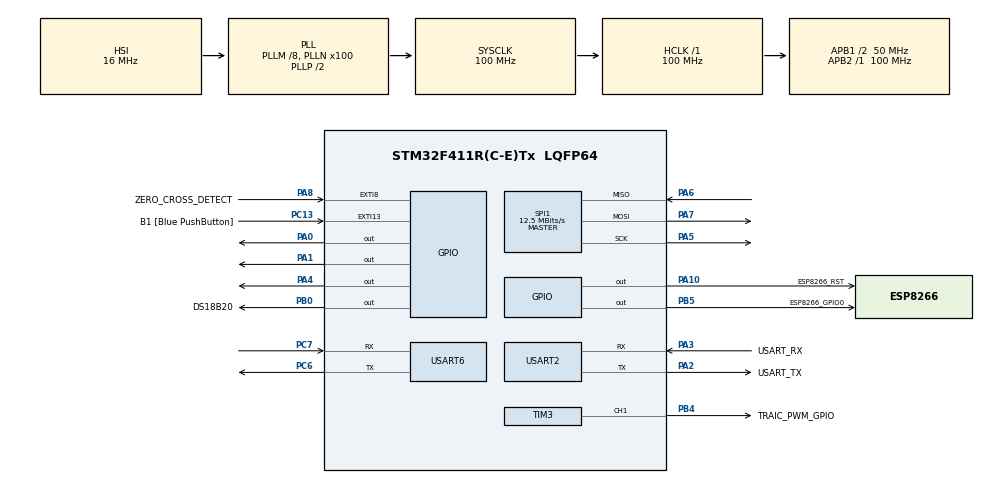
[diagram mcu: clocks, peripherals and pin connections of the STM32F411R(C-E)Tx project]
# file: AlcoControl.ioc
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Mcu.Family=STM32F4
Mcu.Name=STM32F411R(C-E)Tx
Mcu.Package=LQFP64
NVIC.EXTI15_10_IRQn=true\:0\:0\:false\:false\:true\:true\:true\:true
NVIC.EXTI9_5_IRQn=true\:0\:0\:false\:false\:true\:true\:true\:true
NVIC.PriorityGroup=NVIC_PRIORITYGROUP_0
NVIC.USART2_IRQn=true\:0\:0\:false\:false\:true\:true\:true\:true
NVIC.USART6_IRQn=true\:0\:0\:false\:false\:true\:true\:true\:true
PA0-WKUP.Signal=GPIO_Output
PA1.Signal=GPIO_Output
PA10.GPIO_Label=ESP8266_RST
PA10.Signal=GPIO_Output
PA13.GPIO_Label=TMS
PA13.Mode=Serial_Wire
PA13.Signal=SYS_JTMS-SWDIO
PA14.GPIO_Label=TCK
PA14.Mode=Serial_Wire
PA14.Signal=SYS_JTCK-SWCLK
PA2.GPIO_Label=USART_TX
PA2.Mode=Asynchronous
PA2.Signal=USART2_TX
PA3.GPIO_Label=USART_RX
PA3.Mode=Asynchronous
PA3.Signal=USART2_RX
PA4.Signal=GPIO_Output
PA5.Mode=Full_Duplex_Master
PA5.Signal=SPI1_SCK
PA6.Mode=Full_Duplex_Master
PA6.Signal=SPI1_MISO
PA7.Mode=Full_Duplex_Master
PA7.Signal=SPI1_MOSI
PA8.GPIO_Label=ZERO_CROSS_DETECT
PA8.GPIO_ModeDefaultEXTI=GPIO_MODE_IT_FALLING
PA8.Signal=GPXTI8
PB0.GPIO_Label=DS18B20
PB0.GPIO_ModeDefaultOutputPP=GPIO_MODE_OUTPUT_PP
PB0.GPIO_PuPd=GPIO_NOPULL
PB0.Signal=GPIO_Output
PB3.GPIO_Label=SWO
PB3.Signal=SYS_JTDO-SWO
PB4.GPIO_Label=TRAIC_PWM_GPIO
PB4.Signal=S_TIM3_CH1
PB5.GPIO_Label=ESP8266_GPIO0
PB5.Signal=GPIO_Output
PC13-ANTI_TAMP.GPIO_Label=B1 [Blue PushButton]
PC13-ANTI_TAMP.GPIO_ModeDefaultEXTI=GPIO_MODE_IT_FALLING
PC13-ANTI_TAMP.Signal=GPXTI13
PC14-OSC32_IN.Mode=LSE-External-Oscillator
PC14-OSC32_IN.Signal=RCC_OSC32_IN
PC15-OSC32_OUT.Mode=LSE-External-Oscillator
PC15-OSC32_OUT.Signal=RCC_OSC32_OUT
PC6.Mode=Asynchronous
PC6.Signal=USART6_TX
PC7.Mode=Asynchronous
PC7.Signal=USART6_RX
PH0\ -\ OSC_IN.Mode=HSE-External-Clock-Source
PH0\ -\ OSC_IN.Signal=RCC_OSC_IN
PH1\ -\ OSC_OUT.Mode=HSE-External-Clock-Source
PH1\ -\ OSC_OUT.Signal=RCC_OSC_OUT
ProjectManager.HeapSize=0x200
ProjectManager.StackSize=0x400
ProjectManager.TargetToolchain=STM32CubeIDE
RCC.48MHZClocksFreq_Value=50000000
RCC.AHBFreq_Value=100000000
RCC.APB1CLKDivider=RCC_HCLK_DIV2
RCC.APB1Freq_Value=50000000
RCC.APB1TimFreq_Value=100000000
RCC.APB2Freq_Value=100000000
RCC.APB2TimFreq_Value=100000000
RCC.CortexFreq_Value=100000000
RCC.FLatency-AdvancedSettings=FLASH_LATENCY_3
RCC.HCLKFreq_Value=100000000
RCC.HSE_VALUE=8000000
RCC.HSI_VALUE=16000000
RCC.PLLM=8
RCC.PLLN=100
RCC.SYSCLKFreq_VALUE=100000000
RCC.SYSCLKSource=RCC_SYSCLKSOURCE_PLLCLK
RCC.VCOOutputFreq_Value=200000000
SH.S_TIM3_CH1.0=TIM3_CH1,PWM Generation1 CH1
SPI1.BaudRatePrescaler=SPI_BAUDRATEPRESCALER_8
SPI1.CalculateBaudRate=12.5 MBits/s
SPI1.Direction=SPI_DIRECTION_2LINES
SPI1.Mode=SPI_MODE_MASTER
SPI1.VirtualType=VM_MASTER
TIM1.Prescaler=83
TIM3.Channel-PWM\ Generation1\ CH1=TIM_CHANNEL_1
USART2.VirtualMode=VM_ASYNC
USART6.VirtualMode=VM_ASYNC
VP_TIM1_VS_ClockSourceINT.Mode=Internal
VP_TIM1_VS_ClockSourceITR.Mode=TriggerSource_ITR0
VP_TIM1_VS_ControllerModeReset.Mode=Reset Mode
VP_TIM3_VS_ClockSourceINT.Mode=Internal
VP_TIM3_VS_OPM.Mode=OPM_bit
board=NUCLEO-F411RE

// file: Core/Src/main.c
/* USER CODE BEGIN Header */
/**
 ******************************************************************************
 * @file           : main.c
 * @brief          : Main program body
 ******************************************************************************
 * @attention
 *
 * Copyright (c) 2023 STMicroelectronics.
 * All rights reserved.
 *
 * This software is licensed under terms that can be found in the LICENSE file
 * in the root directory of this software component.
 * If no LICENSE file comes with this software, it is provided AS-IS.
 *
 ******************************************************************************
 */
/* USER CODE END Header */
#include "main.h"

/* USER CODE BEGIN Includes */
#include <stdint.h>
#include <string.h>
#include "display_tft.h"
#include "ds18b20.h"
#include "onewire.h"
#include "pid.h"
#include "ESP8266_HAL.h"
// C:\Users\mateu\AppData\Roaming\Python\Python312\Scripts\esptool.exe --port COM4 --chip esp8266 --baud 115200 --before default_reset --after hard_reset write_flash --flash_mode dio --flash_freq 80m 0x0 .\Cytron_ESP-12F_WROOM-02_AT_Firmware_V2.2.0.bin

/* USER CODE END Includes */

SPI_HandleTypeDef hspi1;

TIM_HandleTypeDef htim1;
TIM_HandleTypeDef htim3;

UART_HandleTypeDef huart2;
UART_HandleTypeDef huart6;

/* USER CODE BEGIN PV */

uint8_t sensor_bottom[8];
uint8_t sensor_middle[8];
uint8_t sensor_top[8];

float temp_bottom = -1000;
float temp_middle = -1000;
float temp_top = -1000;

uint8_t sensors_found = 0;

/* USER CODE END PV */

void SystemClock_Config(void);
static void MX_GPIO_Init(void);
static void MX_USART2_UART_Init(void);
static void MX_SPI1_Init(void);
static void MX_TIM1_Init(void);
static void MX_TIM3_Init(void);
static void MX_USART6_UART_Init(void);

/* USER CODE BEGIN 0 */
void Sensors_Init(void)
{

    DS18B20_Init(DS18B20_Resolution_12bits);
    sensors_found = DS18B20_Quantity();

    switch(sensors_found){
    case 1:
    	DS18B20_GetROM(0,sensor_bottom);
    	break;
    case 2:
    	DS18B20_GetROM(0,sensor_bottom);
    	DS18B20_GetROM(1,sensor_middle);
    	break;
    case 3:
    	DS18B20_GetROM(0,sensor_bottom);
		DS18B20_GetROM(1,sensor_middle);
		DS18B20_GetROM(2,sensor_top);
		break;
    }

}

void Sensors_ReadTemperatures(void)
{
	DS18B20_ReadAll();
	DS18B20_StartAll();

    if (sensors_found >= 1) {
    	DS18B20_GetTemperature(0, &temp_bottom);
    } else {
        temp_bottom = -1000;
    }

    if (sensors_found >= 2) {
    	DS18B20_GetTemperature(1, &temp_middle);
    } else {
        temp_middle = -1000;
    }

    if (sensors_found >= 3) {
    	DS18B20_GetTemperature(2, &temp_top);
    } else {
        temp_top = -1000;
    }
}

/* USER CODE END 0 */

int main(void)
{

  /* MCU Configuration--------------------------------------------------------*/

  /* Reset of all peripherals, Initializes the Flash interface and the Systick. */
  HAL_Init();

  /* Configure the system clock */
  SystemClock_Config();

  /* Initialize all configured peripherals */
  MX_GPIO_Init();
  MX_USART2_UART_Init();
  MX_SPI1_Init();
  MX_TIM1_Init();
  MX_TIM3_Init();
  MX_USART6_UART_Init();
  /* USER CODE BEGIN 2 */
	TFT_Init(&hspi1);
	TFT_FillScreen(BLACK);
	TFT_DrawString(10, 10, "Hello AlcoControl!", RED, BLACK);
	PID_t heater_pid;

	 ESP_Init("Orange_Swiatlowod_0990","vEHMMHJvoGhGVFs32i");
  /* USER CODE END 2 */

  /* Infinite loop */
  /* USER CODE BEGIN WHILE */
	Sensors_Init();
	float dt = 1.0f;
	PID_Init(&heater_pid, 50.0f, 1.0f, 1.0f, 0.0f, 100.0f); // Kp, Ki, Kd, min=0%, max=100%
	heater_pid.setpoint = 30.5f;
	float heater_power = 0;
	TFT_DrawDestilleryScreen();
	while (1) {
		Sensors_ReadTemperatures();
		heater_power = PID_Compute(&heater_pid, temp_top, dt);
		TFT_UpdateValues(temp_bottom, temp_middle, temp_top, heater_power);
		Server_Start();

    /* USER CODE END WHILE */

	}
}

void SystemClock_Config(void)
{
  RCC_OscInitTypeDef RCC_OscInitStruct = {0};
  RCC_ClkInitTypeDef RCC_ClkInitStruct = {0};

  /** Configure the main internal regulator output voltage
  */
  __HAL_RCC_PWR_CLK_ENABLE();
  __HAL_PWR_VOLTAGESCALING_CONFIG(PWR_REGULATOR_VOLTAGE_SCALE1);

  /** Initializes the RCC Oscillators according to the specified parameters
  * in the RCC_OscInitTypeDef structure.
  */
  RCC_OscInitStruct.OscillatorType = RCC_OSCILLATORTYPE_HSI;
  RCC_OscInitStruct.HSIState = RCC_HSI_ON;
  RCC_OscInitStruct.HSICalibrationValue = RCC_HSICALIBRATION_DEFAULT;
  RCC_OscInitStruct.PLL.PLLState = RCC_PLL_ON;
  RCC_OscInitStruct.PLL.PLLSource = RCC_PLLSOURCE_HSI;
  RCC_OscInitStruct.PLL.PLLM = 8;
  RCC_OscInitStruct.PLL.PLLN = 100;
  RCC_OscInitStruct.PLL.PLLP = RCC_PLLP_DIV2;
  RCC_OscInitStruct.PLL.PLLQ = 4;
  if (HAL_RCC_OscConfig(&RCC_OscInitStruct) != HAL_OK)
  {
    Error_Handler();
  }

  /** Initializes the CPU, AHB and APB buses clocks
  */
  RCC_ClkInitStruct.ClockType = RCC_CLOCKTYPE_HCLK|RCC_CLOCKTYPE_SYSCLK
                              |RCC_CLOCKTYPE_PCLK1|RCC_CLOCKTYPE_PCLK2;
  RCC_ClkInitStruct.SYSCLKSource = RCC_SYSCLKSOURCE_PLLCLK;
  RCC_ClkInitStruct.AHBCLKDivider = RCC_SYSCLK_DIV1;
  RCC_ClkInitStruct.APB1CLKDivider = RCC_HCLK_DIV2;
  RCC_ClkInitStruct.APB2CLKDivider = RCC_HCLK_DIV1;

  if (HAL_RCC_ClockConfig(&RCC_ClkInitStruct, FLASH_LATENCY_3) != HAL_OK)
  {
    Error_Handler();
  }
}

static void MX_SPI1_Init(void)
{

  /* SPI1 parameter configuration*/
  hspi1.Instance = SPI1;
  hspi1.Init.Mode = SPI_MODE_MASTER;
  hspi1.Init.Direction = SPI_DIRECTION_2LINES;
  hspi1.Init.DataSize = SPI_DATASIZE_8BIT;
  hspi1.Init.CLKPolarity = SPI_POLARITY_LOW;
  hspi1.Init.CLKPhase = SPI_PHASE_1EDGE;
  hspi1.Init.NSS = SPI_NSS_SOFT;
  hspi1.Init.BaudRatePrescaler = SPI_BAUDRATEPRESCALER_8;
  hspi1.Init.FirstBit = SPI_FIRSTBIT_MSB;
  hspi1.Init.TIMode = SPI_TIMODE_DISABLE;
  hspi1.Init.CRCCalculation = SPI_CRCCALCULATION_DISABLE;
  hspi1.Init.CRCPolynomial = 10;
  if (HAL_SPI_Init(&hspi1) != HAL_OK)
  {
    Error_Handler();
  }

}

static void MX_TIM1_Init(void)
{

  TIM_ClockConfigTypeDef sClockSourceConfig = {0};
  TIM_SlaveConfigTypeDef sSlaveConfig = {0};
  TIM_MasterConfigTypeDef sMasterConfig = {0};

  htim1.Instance = TIM1;
  htim1.Init.Prescaler = 83;
  htim1.Init.CounterMode = TIM_COUNTERMODE_UP;
  htim1.Init.Period = 65535;
  htim1.Init.ClockDivision = TIM_CLOCKDIVISION_DIV1;
  htim1.Init.RepetitionCounter = 0;
  htim1.Init.AutoReloadPreload = TIM_AUTORELOAD_PRELOAD_DISABLE;
  if (HAL_TIM_Base_Init(&htim1) != HAL_OK)
  {
    Error_Handler();
  }
  sClockSourceConfig.ClockSource = TIM_CLOCKSOURCE_INTERNAL;
  if (HAL_TIM_ConfigClockSource(&htim1, &sClockSourceConfig) != HAL_OK)
  {
    Error_Handler();
  }
  sSlaveConfig.SlaveMode = TIM_SLAVEMODE_RESET;
  sSlaveConfig.InputTrigger = TIM_TS_ITR0;
  if (HAL_TIM_SlaveConfigSynchro(&htim1, &sSlaveConfig) != HAL_OK)
  {
    Error_Handler();
  }
  sMasterConfig.MasterOutputTrigger = TIM_TRGO_RESET;
  sMasterConfig.MasterSlaveMode = TIM_MASTERSLAVEMODE_DISABLE;
  if (HAL_TIMEx_MasterConfigSynchronization(&htim1, &sMasterConfig) != HAL_OK)
  {
    Error_Handler();
  }

}

static void MX_TIM3_Init(void)
{

  TIM_ClockConfigTypeDef sClockSourceConfig = {0};
  TIM_MasterConfigTypeDef sMasterConfig = {0};
  TIM_OC_InitTypeDef sConfigOC = {0};

  htim3.Instance = TIM3;
  htim3.Init.Prescaler = 0;
  htim3.Init.CounterMode = TIM_COUNTERMODE_UP;
  htim3.Init.Period = 65535;
  htim3.Init.ClockDivision = TIM_CLOCKDIVISION_DIV1;
  htim3.Init.AutoReloadPreload = TIM_AUTORELOAD_PRELOAD_DISABLE;
  if (HAL_TIM_Base_Init(&htim3) != HAL_OK)
  {
    Error_Handler();
  }
  sClockSourceConfig.ClockSource = TIM_CLOCKSOURCE_INTERNAL;
  if (HAL_TIM_ConfigClockSource(&htim3, &sClockSourceConfig) != HAL_OK)
  {
    Error_Handler();
  }
  if (HAL_TIM_PWM_Init(&htim3) != HAL_OK)
  {
    Error_Handler();
  }
  if (HAL_TIM_OnePulse_Init(&htim3, TIM_OPMODE_SINGLE) != HAL_OK)
  {
    Error_Handler();
  }
  sMasterConfig.MasterOutputTrigger = TIM_TRGO_RESET;
  sMasterConfig.MasterSlaveMode = TIM_MASTERSLAVEMODE_DISABLE;
  if (HAL_TIMEx_MasterConfigSynchronization(&htim3, &sMasterConfig) != HAL_OK)
  {
    Error_Handler();
  }
  sConfigOC.OCMode = TIM_OCMODE_PWM1;
  sConfigOC.Pulse = 0;
  sConfigOC.OCPolarity = TIM_OCPOLARITY_HIGH;
  sConfigOC.OCFastMode = TIM_OCFAST_DISABLE;
  if (HAL_TIM_PWM_ConfigChannel(&htim3, &sConfigOC, TIM_CHANNEL_1) != HAL_OK)
  {
    Error_Handler();
  }
  HAL_TIM_MspPostInit(&htim3);

}

static void MX_USART2_UART_Init(void)
{

  huart2.Instance = USART2;
  huart2.Init.BaudRate = 115200;
  huart2.Init.WordLength = UART_WORDLENGTH_8B;
  huart2.Init.StopBits = UART_STOPBITS_1;
  huart2.Init.Parity = UART_PARITY_NONE;
  huart2.Init.Mode = UART_MODE_TX_RX;
  huart2.Init.HwFlowCtl = UART_HWCONTROL_NONE;
  huart2.Init.OverSampling = UART_OVERSAMPLING_16;
  if (HAL_UART_Init(&huart2) != HAL_OK)
  {
    Error_Handler();
  }

}

static void MX_USART6_UART_Init(void)
{

  huart6.Instance = USART6;
  huart6.Init.BaudRate = 115200;
  huart6.Init.WordLength = UART_WORDLENGTH_8B;
  huart6.Init.StopBits = UART_STOPBITS_1;
  huart6.Init.Parity = UART_PARITY_NONE;
  huart6.Init.Mode = UART_MODE_TX_RX;
  huart6.Init.HwFlowCtl = UART_HWCONTROL_NONE;
  huart6.Init.OverSampling = UART_OVERSAMPLING_16;
  if (HAL_UART_Init(&huart6) != HAL_OK)
  {
    Error_Handler();
  }

}

static void MX_GPIO_Init(void)
{
  GPIO_InitTypeDef GPIO_InitStruct = {0};

  /* GPIO Ports Clock Enable */
  __HAL_RCC_GPIOC_CLK_ENABLE();
  __HAL_RCC_GPIOH_CLK_ENABLE();
  __HAL_RCC_GPIOA_CLK_ENABLE();
  __HAL_RCC_GPIOB_CLK_ENABLE();

  /*Configure GPIO pin Output Level */
  HAL_GPIO_WritePin(GPIOA, GPIO_PIN_0|GPIO_PIN_1|GPIO_PIN_4|ESP8266_RST_Pin, GPIO_PIN_RESET);

  /*Configure GPIO pin Output Level */
  HAL_GPIO_WritePin(GPIOB, DS18B20_Pin|ESP8266_GPIO0_Pin, GPIO_PIN_RESET);

  /*Configure GPIO pin : B1_Pin */
  GPIO_InitStruct.Pin = B1_Pin;
  GPIO_InitStruct.Mode = GPIO_MODE_IT_FALLING;
  GPIO_InitStruct.Pull = GPIO_NOPULL;
  HAL_GPIO_Init(B1_GPIO_Port, &GPIO_InitStruct);

  /*Configure GPIO pins : PA0 PA1 PA4 ESP8266_RST_Pin */
  GPIO_InitStruct.Pin = GPIO_PIN_0|GPIO_PIN_1|GPIO_PIN_4|ESP8266_RST_Pin;
  GPIO_InitStruct.Mode = GPIO_MODE_OUTPUT_PP;
  GPIO_InitStruct.Pull = GPIO_NOPULL;
  GPIO_InitStruct.Speed = GPIO_SPEED_FREQ_LOW;
  HAL_GPIO_Init(GPIOA, &GPIO_InitStruct);

  /*Configure GPIO pins : DS18B20_Pin ESP8266_GPIO0_Pin */
  GPIO_InitStruct.Pin = DS18B20_Pin|ESP8266_GPIO0_Pin;
  GPIO_InitStruct.Mode = GPIO_MODE_OUTPUT_PP;
  GPIO_InitStruct.Pull = GPIO_NOPULL;
  GPIO_InitStruct.Speed = GPIO_SPEED_FREQ_LOW;
  HAL_GPIO_Init(GPIOB, &GPIO_InitStruct);

  /*Configure GPIO pin : ZERO_CROSS_DETECT_Pin */
  GPIO_InitStruct.Pin = ZERO_CROSS_DETECT_Pin;
  GPIO_InitStruct.Mode = GPIO_MODE_IT_FALLING;
  GPIO_InitStruct.Pull = GPIO_NOPULL;
  HAL_GPIO_Init(ZERO_CROSS_DETECT_GPIO_Port, &GPIO_InitStruct);

  /* EXTI interrupt init*/
  HAL_NVIC_SetPriority(EXTI9_5_IRQn, 0, 0);
  HAL_NVIC_EnableIRQ(EXTI9_5_IRQn);

  HAL_NVIC_SetPriority(EXTI15_10_IRQn, 0, 0);
  HAL_NVIC_EnableIRQ(EXTI15_10_IRQn);

}

void Error_Handler(void)
{
	__disable_irq();
	while (1) {
	}
}
